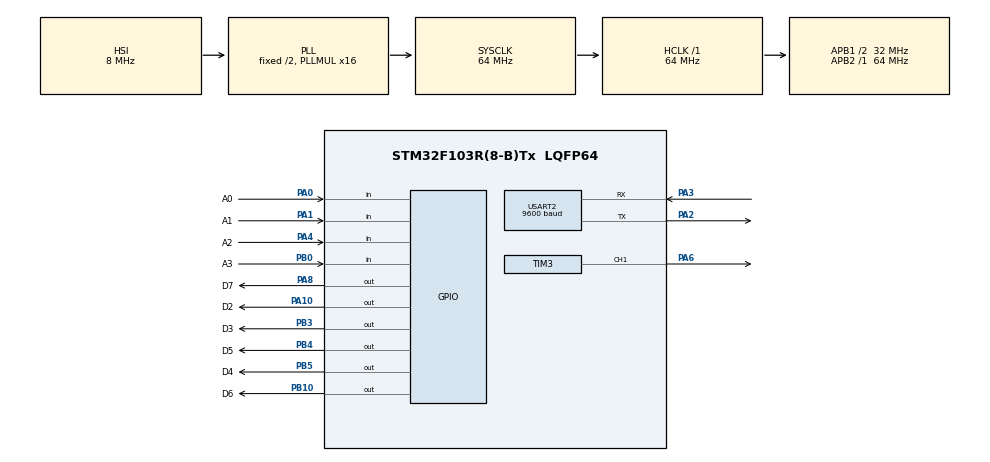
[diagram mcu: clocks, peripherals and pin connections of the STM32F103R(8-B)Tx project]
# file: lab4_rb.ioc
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Mcu.Family=STM32F1
Mcu.Name=STM32F103R(8-B)Tx
Mcu.Package=LQFP64
NVIC.PriorityGroup=NVIC_PRIORITYGROUP_4
NVIC.TIM2_IRQn=true\:0\:0\:false\:false\:true\:true\:true
NVIC.USART2_IRQn=true\:0\:0\:false\:false\:true\:true\:true
PA0-WKUP.GPIO_Label=A0
PA0-WKUP.GPIO_PuPd=GPIO_PULLUP
PA0-WKUP.Signal=GPIO_Input
PA1.GPIO_Label=A1
PA1.GPIO_PuPd=GPIO_PULLUP
PA1.Signal=GPIO_Input
PA10.GPIO_Label=D2
PA10.Signal=GPIO_Output
PA13.Mode=Serial_Wire
PA13.Signal=SYS_JTMS-SWDIO
PA14.Mode=Serial_Wire
PA14.Signal=SYS_JTCK-SWCLK
PA2.Mode=Asynchronous
PA2.Signal=USART2_TX
PA3.Mode=Asynchronous
PA3.Signal=USART2_RX
PA4.GPIO_Label=A2
PA4.GPIO_PuPd=GPIO_PULLUP
PA4.Signal=GPIO_Input
PA6.Signal=S_TIM3_CH1
PA8.GPIO_Label=D7
PA8.Signal=GPIO_Output
PB0.GPIO_Label=A3
PB0.GPIO_PuPd=GPIO_PULLUP
PB0.Signal=GPIO_Input
PB10.GPIO_Label=D6
PB10.Signal=GPIO_Output
PB3.GPIO_Label=D3
PB3.Signal=GPIO_Output
PB4.GPIO_Label=D5
PB4.Signal=GPIO_Output
PB5.GPIO_Label=D4
PB5.Signal=GPIO_Output
ProjectManager.HeapSize=0x200
ProjectManager.StackSize=0x400
ProjectManager.TargetToolchain=STM32CubeIDE
RCC.AHBFreq_Value=64000000
RCC.APB1CLKDivider=RCC_HCLK_DIV2
RCC.APB1Freq_Value=32000000
RCC.APB1TimFreq_Value=64000000
RCC.APB2Freq_Value=64000000
RCC.APB2TimFreq_Value=64000000
RCC.HCLKFreq_Value=64000000
RCC.PLLMUL=RCC_PLL_MUL16
RCC.SYSCLKFreq_VALUE=64000000
RCC.SYSCLKSource=RCC_SYSCLKSOURCE_PLLCLK
RCC.USBFreq_Value=64000000
SH.S_TIM3_CH1.0=TIM3_CH1,PWM Generation1 CH1
TIM2.Period=79
TIM2.Prescaler=7999
TIM3.Channel-PWM\ Generation1\ CH1=TIM_CHANNEL_1
TIM3.Period=999
TIM3.Prescaler=63
USART2.BaudRate=9600
USART2.VirtualMode=VM_ASYNC
VP_TIM2_VS_ClockSourceINT.Mode=Internal
VP_TIM3_VS_ClockSourceINT.Mode=Internal
board=custom

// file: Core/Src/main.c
/* USER CODE BEGIN Header */
/**
  ******************************************************************************
  * @file           : main.c
  * @brief          : Main program body
  ******************************************************************************
  * @attention
  *
  * <h2><center>&copy; Copyright (c) 2022 STMicroelectronics.
  * All rights reserved.</center></h2>
  *
  * This software component is licensed by ST under BSD 3-Clause license,
  * the "License"; You may not use this file except in compliance with the
  * License. You may obtain a copy of the License at:
  *                        opensource.org/licenses/BSD-3-Clause
  *
  ******************************************************************************
  */
/* USER CODE END Header */
#include "main.h"

/* USER CODE BEGIN Includes */
#include "global.h"
#include "software_timer.h"
#include "button.h"
#include "scheduler.h"
#include "display.h"
#include <stdio.h>
/* USER CODE END Includes */

TIM_HandleTypeDef htim2;
TIM_HandleTypeDef htim3;

UART_HandleTypeDef huart2;

void SystemClock_Config(void);
static void MX_GPIO_Init(void);
static void MX_TIM3_Init(void);
static void MX_TIM2_Init(void);
static void MX_USART2_UART_Init(void);

/* USER CODE BEGIN 0 */
void print_time(){
	if(time_flag == 1){
		HAL_UART_Transmit(&huart2, (void *)buffer, sprintf(buffer, "!7SEG:%d\r\n", counter), 50);
		time_flag = 0;
	}
}
void buzzer(){
	if(buzz_flag == 1){
		if(timer3_flag == 0){
			if(timer4_flag == 1){
				if(counter >= 1 && counter < 5){
				__HAL_TIM_SetCompare(&htim3, TIM_CHANNEL_1, 1000 - counter*200);
				setTimer4(counter*200 + 100);
				}
			}
		}
	}
}
/* USER CODE END 0 */

int main(void)
{

  /* MCU Configuration--------------------------------------------------------*/

  /* Reset of all peripherals, Initializes the Flash interface and the Systick. */
  HAL_Init();

  /* Configure the system clock */
  SystemClock_Config();

  /* Initialize all configured peripherals */
  MX_GPIO_Init();
  MX_TIM3_Init();
  MX_TIM2_Init();
  MX_USART2_UART_Init();
  /* USER CODE BEGIN 2 */
  HAL_TIM_Base_Start_IT(&htim2);
  HAL_TIMEx_PWMN_Start(&htim3, TIM_CHANNEL_1);
  /* USER CODE END 2 */

  /* Infinite loop */
  /* USER CODE BEGIN WHILE */
  while (1)
  {
	 fsm_simple_buttons_run();
	 print_time();
	 buzzer();
    /* USER CODE END WHILE */

  }
}

void SystemClock_Config(void)
{
  RCC_OscInitTypeDef RCC_OscInitStruct = {0};
  RCC_ClkInitTypeDef RCC_ClkInitStruct = {0};

  /** Initializes the RCC Oscillators according to the specified parameters
  * in the RCC_OscInitTypeDef structure.
  */
  RCC_OscInitStruct.OscillatorType = RCC_OSCILLATORTYPE_HSI;
  RCC_OscInitStruct.HSIState = RCC_HSI_ON;
  RCC_OscInitStruct.HSICalibrationValue = RCC_HSICALIBRATION_DEFAULT;
  RCC_OscInitStruct.PLL.PLLState = RCC_PLL_ON;
  RCC_OscInitStruct.PLL.PLLSource = RCC_PLLSOURCE_HSI_DIV2;
  RCC_OscInitStruct.PLL.PLLMUL = RCC_PLL_MUL16;
  if (HAL_RCC_OscConfig(&RCC_OscInitStruct) != HAL_OK)
  {
    Error_Handler();
  }
  /** Initializes the CPU, AHB and APB buses clocks
  */
  RCC_ClkInitStruct.ClockType = RCC_CLOCKTYPE_HCLK|RCC_CLOCKTYPE_SYSCLK
                              |RCC_CLOCKTYPE_PCLK1|RCC_CLOCKTYPE_PCLK2;
  RCC_ClkInitStruct.SYSCLKSource = RCC_SYSCLKSOURCE_PLLCLK;
  RCC_ClkInitStruct.AHBCLKDivider = RCC_SYSCLK_DIV1;
  RCC_ClkInitStruct.APB1CLKDivider = RCC_HCLK_DIV2;
  RCC_ClkInitStruct.APB2CLKDivider = RCC_HCLK_DIV1;

  if (HAL_RCC_ClockConfig(&RCC_ClkInitStruct, FLASH_LATENCY_2) != HAL_OK)
  {
    Error_Handler();
  }
}

static void MX_TIM2_Init(void)
{

  TIM_ClockConfigTypeDef sClockSourceConfig = {0};
  TIM_MasterConfigTypeDef sMasterConfig = {0};

  htim2.Instance = TIM2;
  htim2.Init.Prescaler = 7999;
  htim2.Init.CounterMode = TIM_COUNTERMODE_UP;
  htim2.Init.Period = 79;
  htim2.Init.ClockDivision = TIM_CLOCKDIVISION_DIV1;
  htim2.Init.AutoReloadPreload = TIM_AUTORELOAD_PRELOAD_DISABLE;
  if (HAL_TIM_Base_Init(&htim2) != HAL_OK)
  {
    Error_Handler();
  }
  sClockSourceConfig.ClockSource = TIM_CLOCKSOURCE_INTERNAL;
  if (HAL_TIM_ConfigClockSource(&htim2, &sClockSourceConfig) != HAL_OK)
  {
    Error_Handler();
  }
  sMasterConfig.MasterOutputTrigger = TIM_TRGO_RESET;
  sMasterConfig.MasterSlaveMode = TIM_MASTERSLAVEMODE_DISABLE;
  if (HAL_TIMEx_MasterConfigSynchronization(&htim2, &sMasterConfig) != HAL_OK)
  {
    Error_Handler();
  }

}

static void MX_TIM3_Init(void)
{

  TIM_ClockConfigTypeDef sClockSourceConfig = {0};
  TIM_MasterConfigTypeDef sMasterConfig = {0};
  TIM_OC_InitTypeDef sConfigOC = {0};

  htim3.Instance = TIM3;
  htim3.Init.Prescaler = 63;
  htim3.Init.CounterMode = TIM_COUNTERMODE_UP;
  htim3.Init.Period = 999;
  htim3.Init.ClockDivision = TIM_CLOCKDIVISION_DIV1;
  htim3.Init.AutoReloadPreload = TIM_AUTORELOAD_PRELOAD_DISABLE;
  if (HAL_TIM_Base_Init(&htim3) != HAL_OK)
  {
    Error_Handler();
  }
  sClockSourceConfig.ClockSource = TIM_CLOCKSOURCE_INTERNAL;
  if (HAL_TIM_ConfigClockSource(&htim3, &sClockSourceConfig) != HAL_OK)
  {
    Error_Handler();
  }
  if (HAL_TIM_PWM_Init(&htim3) != HAL_OK)
  {
    Error_Handler();
  }
  sMasterConfig.MasterOutputTrigger = TIM_TRGO_RESET;
  sMasterConfig.MasterSlaveMode = TIM_MASTERSLAVEMODE_DISABLE;
  if (HAL_TIMEx_MasterConfigSynchronization(&htim3, &sMasterConfig) != HAL_OK)
  {
    Error_Handler();
  }
  sConfigOC.OCMode = TIM_OCMODE_PWM1;
  sConfigOC.Pulse = 0;
  sConfigOC.OCPolarity = TIM_OCPOLARITY_HIGH;
  sConfigOC.OCFastMode = TIM_OCFAST_DISABLE;
  if (HAL_TIM_PWM_ConfigChannel(&htim3, &sConfigOC, TIM_CHANNEL_1) != HAL_OK)
  {
    Error_Handler();
  }
  HAL_TIM_MspPostInit(&htim3);

}

static void MX_USART2_UART_Init(void)
{

  huart2.Instance = USART2;
  huart2.Init.BaudRate = 9600;
  huart2.Init.WordLength = UART_WORDLENGTH_8B;
  huart2.Init.StopBits = UART_STOPBITS_1;
  huart2.Init.Parity = UART_PARITY_NONE;
  huart2.Init.Mode = UART_MODE_TX_RX;
  huart2.Init.HwFlowCtl = UART_HWCONTROL_NONE;
  huart2.Init.OverSampling = UART_OVERSAMPLING_16;
  if (HAL_UART_Init(&huart2) != HAL_OK)
  {
    Error_Handler();
  }

}

static void MX_GPIO_Init(void)
{
  GPIO_InitTypeDef GPIO_InitStruct = {0};

  /* GPIO Ports Clock Enable */
  __HAL_RCC_GPIOA_CLK_ENABLE();
  __HAL_RCC_GPIOB_CLK_ENABLE();

  /*Configure GPIO pin Output Level */
  HAL_GPIO_WritePin(GPIOB, D6_Pin|D3_Pin|D5_Pin|D4_Pin, GPIO_PIN_RESET);

  /*Configure GPIO pin Output Level */
  HAL_GPIO_WritePin(GPIOA, D7_Pin|D2_Pin, GPIO_PIN_RESET);

  /*Configure GPIO pins : A0_Pin A1_Pin A2_Pin */
  GPIO_InitStruct.Pin = A0_Pin|A1_Pin|A2_Pin;
  GPIO_InitStruct.Mode = GPIO_MODE_INPUT;
  GPIO_InitStruct.Pull = GPIO_PULLUP;
  HAL_GPIO_Init(GPIOA, &GPIO_InitStruct);

  /*Configure GPIO pin : A3_Pin */
  GPIO_InitStruct.Pin = A3_Pin;
  GPIO_InitStruct.Mode = GPIO_MODE_INPUT;
  GPIO_InitStruct.Pull = GPIO_PULLUP;
  HAL_GPIO_Init(A3_GPIO_Port, &GPIO_InitStruct);

  /*Configure GPIO pins : D6_Pin D3_Pin D5_Pin D4_Pin */
  GPIO_InitStruct.Pin = D6_Pin|D3_Pin|D5_Pin|D4_Pin;
  GPIO_InitStruct.Mode = GPIO_MODE_OUTPUT_PP;
  GPIO_InitStruct.Pull = GPIO_NOPULL;
  GPIO_InitStruct.Speed = GPIO_SPEED_FREQ_LOW;
  HAL_GPIO_Init(GPIOB, &GPIO_InitStruct);

  /*Configure GPIO pins : D7_Pin D2_Pin */
  GPIO_InitStruct.Pin = D7_Pin|D2_Pin;
  GPIO_InitStruct.Mode = GPIO_MODE_OUTPUT_PP;
  GPIO_InitStruct.Pull = GPIO_NOPULL;
  GPIO_InitStruct.Speed = GPIO_SPEED_FREQ_LOW;
  HAL_GPIO_Init(GPIOA, &GPIO_InitStruct);

}

/* USER CODE BEGIN 4 */
void HAL_TIM_PeriodElapsedCallback ( TIM_HandleTypeDef * htim )
{
	SCH_Update();
	timerRun();
	getKeyInput_1();
	getKeyInput_2();
	getKeyInput_3();
}
/* USER CODE END 4 */

void Error_Handler(void)
{
  __disable_irq();
  while (1)
  {
  }
}

/************************ (C) COPYRIGHT STMicroelectronics *****END OF FILE****/
